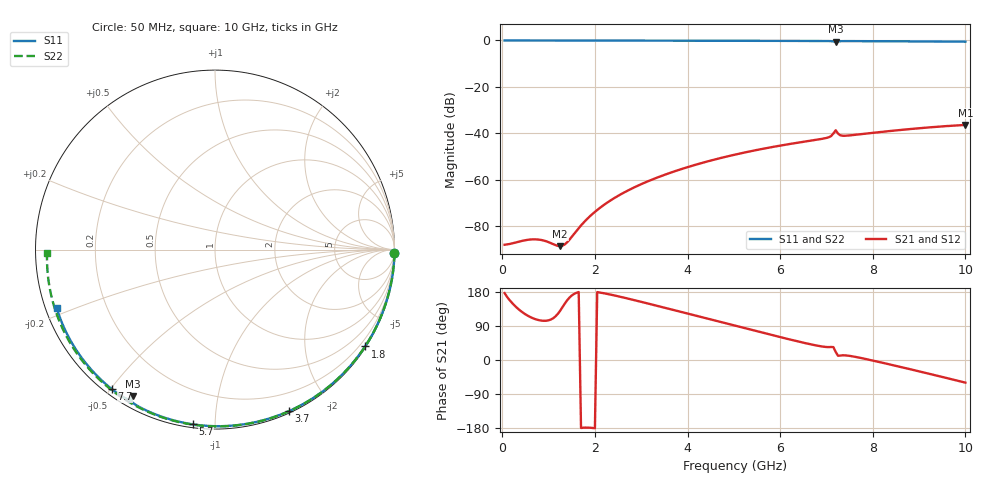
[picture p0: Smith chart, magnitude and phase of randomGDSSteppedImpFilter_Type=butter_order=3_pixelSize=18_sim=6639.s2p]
! freq	dB(S11)	phase(S11)	dB(S12)	phase(S12)
!  dB(S21)	phase(S21)	dB(S22)	phase(S22)
!S-par simulation data
#  GHz  S  DB  R 50
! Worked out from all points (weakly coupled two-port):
!   200 points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, 50 MHz to 10 GHz, reference 50 ohm
!   highest |S21| = -36.44 dB at 10 GHz (marker M1); lowest = -88.7 dB at 1.25 GHz (marker M2)
!   lowest |S11| = -0.6 dB at 7.2 GHz (marker M3), VSWR 30.74, Z = 2.18 - j29.3 ohm
!   |S11| at or under -10 dB: nowhere
!   |S22| runs from -0.6 to 0.0 dB; largest |S21 - S12| = 0
!   S11 on the Smith chart (normalised r, x): 50 MHz: open; 1.8 GHz: 0.03, -3.39; 3.7 GHz: 0.02, -1.55; 5.7 GHz: 0.02, -0.88; 7.7 GHz: 0.02, -0.50; 10 GHz: 0.03, -0.18
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0.05  -0.00 -0.9  -88.11 176.5  -88.11 176.5  -0.00 -1.0
1.25  -0.03 -23.0  -88.71 130.1  -88.71 130.1  -0.03 -25.9
1.65  -0.04 -30.1  -80.93 179.3  -80.93 179.3  -0.04 -33.9
1.75  -0.04 -31.9  -78.66 -178.7  -78.66 -178.7  -0.05 -35.9
1.8  -0.04 -32.8  -77.61 -178.4  -77.61 -178.4  -0.05 -36.9
2.1  -0.05 -38.1  -72.31 178.2  -72.31 178.2  -0.05 -42.9
2.45  -0.06 -44.3  -67.60 169.6  -67.60 169.6  -0.06 -49.8
2.9  -0.07 -52.1  -62.88 156.5  -62.88 156.5  -0.08 -58.4
3.4  -0.08 -60.5  -58.71 141.2  -58.71 141.2  -0.09 -67.9
3.7  -0.09 -65.5  -56.57 131.9  -56.57 131.9  -0.10 -73.4
5.05  -0.13 -87.2  -49.12 89.7  -49.12 89.7  -0.15 -97.3
5.7  -0.16 -97.2  -46.44 69.5  -46.44 69.5  -0.18 -108.3
6.7  -0.22 -112.3  -43.09 40.3  -43.09 40.3  -0.24 -124.8
7.05  -0.27 -117.8  -41.74 34.0  -41.74 34.0  -0.27 -130.5
7.1  -0.30 -118.7  -41.24 34.4  -41.24 34.4  -0.27 -131.3
7.2  -0.57 -119.2  -38.73 21.2  -38.73 21.2  -0.28 -132.9
7.25  -0.38 -119.1  -40.16 11.1  -40.16 11.1  -0.28 -133.7
7.35  -0.29 -121.0  -41.10 12.4  -41.10 12.4  -0.29 -135.4
7.7  -0.29 -126.4  -40.52 6.5  -40.52 6.5  -0.32 -141.0
8.35  -0.35 -135.9  -39.10 -11.2  -39.10 -11.2  -0.38 -151.5
9.2  -0.44 -148.1  -37.52 -35.8  -37.52 -35.8  -0.48 -165.5
10  -0.54 -159.7  -36.44 -59.7  -36.44 -59.7  -0.58 -179.0
